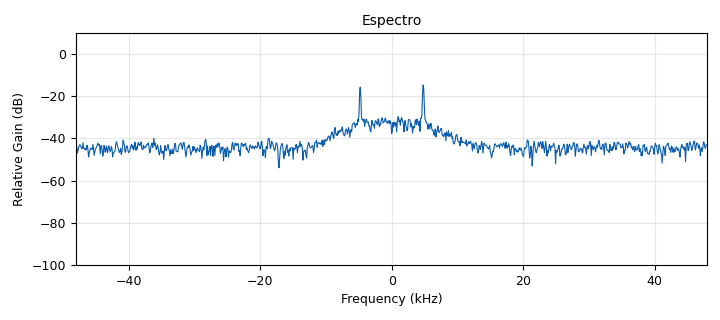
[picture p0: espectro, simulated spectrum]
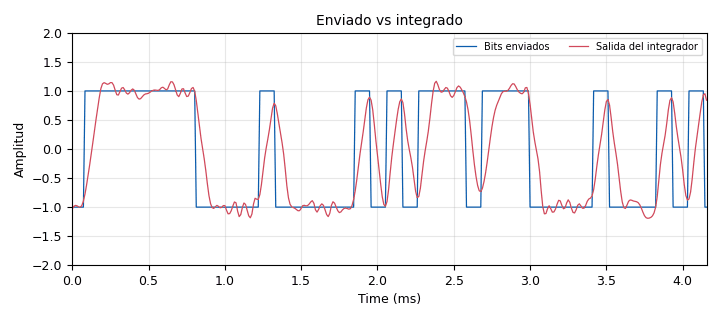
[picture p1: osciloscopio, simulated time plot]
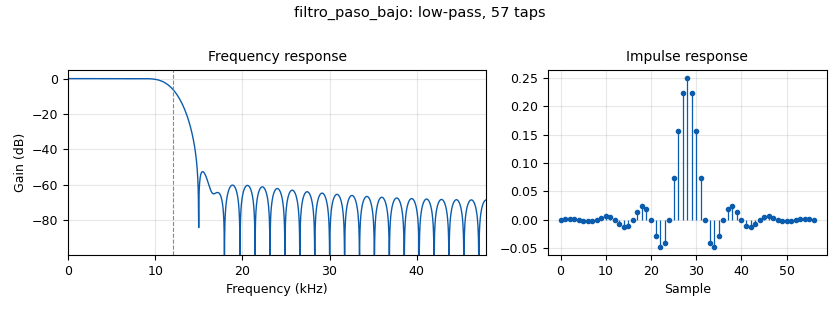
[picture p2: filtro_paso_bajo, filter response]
options:
  parameters:
    author: Alejandro Berna Mogica
    description: Medida de BER de 2-FSK 9,6 kbit/s frente a Eb/N0
    generate_options: qt_gui
    id: fsk_ber
    output_language: python
    title: 02 - Medida de BER FSK (telemetria 868)
  states: {}

blocks:
- name: baud
  id: variable
  parameters:
    comment: bit/s
    value: '9600'
  states: {}
- name: ber_teorica
  id: variable_qtgui_label
  parameters:
    comment: Pb = 1/2 exp(-Eb/N0 / 2)
    gui_hint: 1,1,1,1
    label: BER teorica (2-FSK no coherente)
    type: string
    value: '"%.2e" % (0.5*math.exp(-10**(ebn0_db/10)/2))'
  states: {}
- name: desviacion
  id: variable
  parameters:
    comment: Desviacion FSK (Hz)
    value: '4800'
  states: {}
- name: ebn0_db
  id: variable_qtgui_label
  parameters:
    comment: Eb/N0 = SNR + 10log10(fs/Rb)
    gui_hint: 1,0,1,1
    label: Eb/N0 (dB)
    type: real
    value: 10*math.log10(samp_rate/baud/max(ruido,1e-3)**2)
  states: {}
- name: retardo
  id: variable
  parameters:
    comment: Retardo del filtro (muestras)
    value: (len(taps_lpf)-1)//2
  states: {}
- name: ruido
  id: variable_qtgui_range
  parameters:
    gui_hint: 0,0,1,2
    label: Amplitud de ruido
    start: '0'
    step: '0.01'
    stop: '1.5'
    value: '0.5'
  states: {}
- name: samp_rate
  id: variable
  parameters:
    comment: Muestras/s
    value: '96000'
  states: {}
- name: sps
  id: variable
  parameters:
    comment: Muestras por bit
    value: int(samp_rate/baud)
  states: {}
- name: taps_lpf
  id: variable
  parameters:
    comment: Coeficientes del filtro paso bajo
    value: firdes.low_pass(1, samp_rate, 12000, 4000, window.WIN_HAMMING, 6.76)
  states: {}
- name: a_float
  id: blocks_char_to_float
  parameters:
    scale: '1'
  states: {}
- name: ber_medida
  id: qtgui_number_sink
  parameters:
    graph_type: qtgui.NUM_GRAPH_HORIZ
    gui_hint: 2,0,1,2
    label1: BER
    max: '0.01'
    min: '0'
    name: '"BER medida (ultimos 100 000 bits)"'
    type: float
    update_time: '0.5'
  states: {}
- name: bits
  id: analog_random_source_x
  parameters:
    comment: Bits aleatorios
    max: '2'
    min: '0'
    num_samps: '100000'
    repeat: 'True'
    type: byte
  states: {}
- name: comparador
  id: blocks_xor_xx
  parameters:
    comment: 1 si el bit recibido es distinto
    type: byte
  states: {}
- name: decisor_ref
  id: digital_binary_slicer_fb
  parameters: {}
  states: {}
- name: decisor_rx
  id: digital_binary_slicer_fb
  parameters:
    comment: '>0 -> 1, <0 -> 0'
  states: {}
- name: demodulador_fsk
  id: analog_quadrature_demod_cf
  parameters:
    gain: samp_rate/(2*math.pi*desviacion)
  states: {}
- name: errores_float
  id: blocks_char_to_float
  parameters:
    scale: '1'
  states: {}
- name: espectro
  id: qtgui_freq_sink_x
  parameters:
    average: '0.2'
    bw: samp_rate
    fc: '0'
    fftsize: '1024'
    grid: 'True'
    gui_hint: 3,0,1,1
    name: '"Espectro"'
    type: complex
    ymin: '-100'
  states: {}
- name: filtro_paso_bajo
  id: fir_filter_xxx
  parameters:
    comment: Filtro paso bajo +-12 kHz
    decim: '1'
    taps: taps_lpf
    type: ccf
  states: {}
- name: fuente_ruido
  id: analog_noise_source_x
  parameters:
    amp: ruido
    comment: 'Ruido blanco gaussiano: potencia = amplitud^2'
    noise_type: analog.GR_GAUSSIAN
    seed: '0'
    type: complex
  states: {}
- name: imports
  id: import
  parameters:
    imports: |-
      import math
      from gnuradio.filter import firdes
      from gnuradio.fft import window
  states: {}
- name: integrador
  id: blocks_moving_average_xx
  parameters:
    comment: Integra cada bit (filtro adaptado)
    length: sps
    max_iter: '4000'
    scale: 1.0/sps
    type: float
  states: {}
- name: media_ber
  id: blocks_moving_average_xx
  parameters:
    comment: BER = errores / 100 000 bits
    length: '100000'
    max_iter: '4000'
    scale: '1e-5'
    type: float
  states: {}
- name: menos_uno
  id: blocks_add_const_vxx
  parameters:
    comment: 0/1 -> -1/+1
    const: '-1'
    type: float
  states: {}
- name: modulador_fsk
  id: analog_frequency_modulator_fc
  parameters:
    sensitivity: 2*math.pi*desviacion/samp_rate
  states: {}
- name: muestreo_ref
  id: blocks_keep_m_in_n
  parameters:
    m: '1'
    n: sps
    offset: sps//2
    type: float
  states: {}
- name: muestreo_rx
  id: blocks_keep_m_in_n
  parameters:
    comment: 1 muestra por bit, al final del bit
    m: '1'
    n: sps
    offset: sps-1
    type: float
  states: {}
- name: osciloscopio
  id: qtgui_time_sink_x
  parameters:
    gui_hint: 3,1,1,1
    label1: Bits enviados
    label2: Salida del integrador
    name: '"Enviado vs integrado"'
    nconnections: '2'
    size: '400'
    srate: samp_rate
    type: float
    ylabel: Amplitud
    ymax: '2'
    ymin: '-2'
  states: {}
- name: por_dos
  id: blocks_multiply_const_vxx
  parameters:
    const: '2'
    type: float
  states: {}
- name: repetir
  id: blocks_repeat
  parameters:
    interp: sps
    type: float
  states: {}
- name: retardo_ref
  id: blocks_delay
  parameters:
    comment: Alinea con el retardo del filtro
    delay: retardo
    type: float
  states: {}
- name: suma
  id: blocks_add_xx
  parameters:
    comment: Senal + ruido
    type: complex
  states: {}
- name: throttle
  id: blocks_throttle2
  parameters:
    samples_per_second: samp_rate
    type: complex
  states: {}
- name: throttle_ref
  id: blocks_throttle2
  parameters:
    samples_per_second: samp_rate
    type: float
  states: {}

connections:
- [a_float, '0', por_dos, '0']
- [bits, '0', a_float, '0']
- [comparador, '0', errores_float, '0']
- [decisor_ref, '0', comparador, '0']
- [decisor_rx, '0', comparador, '1']
- [demodulador_fsk, '0', integrador, '0']
- [errores_float, '0', media_ber, '0']
- [filtro_paso_bajo, '0', demodulador_fsk, '0']
- [fuente_ruido, '0', suma, '1']
- [integrador, '0', muestreo_rx, '0']
- [integrador, '0', osciloscopio, '1']
- [media_ber, '0', ber_medida, '0']
- [menos_uno, '0', repetir, '0']
- [modulador_fsk, '0', suma, '0']
- [muestreo_ref, '0', decisor_ref, '0']
- [muestreo_rx, '0', decisor_rx, '0']
- [por_dos, '0', menos_uno, '0']
- [repetir, '0', modulador_fsk, '0']
- [repetir, '0', throttle_ref, '0']
- [retardo_ref, '0', muestreo_ref, '0']
- [retardo_ref, '0', osciloscopio, '0']
- [suma, '0', throttle, '0']
- [throttle, '0', espectro, '0']
- [throttle, '0', filtro_paso_bajo, '0']
- [throttle_ref, '0', retardo_ref, '0']

metadata:
  file_format: 1
  grc_version: 3.10.12.0
